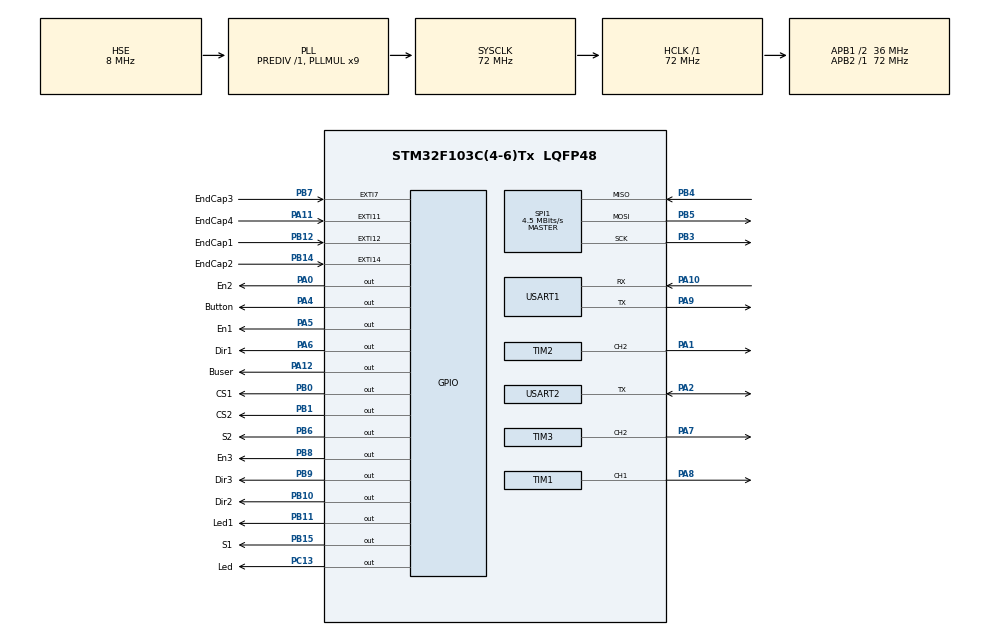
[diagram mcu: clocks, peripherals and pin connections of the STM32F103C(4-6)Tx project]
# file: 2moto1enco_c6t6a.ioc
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Mcu.Family=STM32F1
Mcu.Name=STM32F103C(4-6)Tx
Mcu.Package=LQFP48
NVIC.EXTI15_10_IRQn=true\:5\:0\:true\:false\:true\:true\:true\:true
NVIC.EXTI9_5_IRQn=true\:5\:0\:true\:false\:true\:true\:true\:true
NVIC.PriorityGroup=NVIC_PRIORITYGROUP_4
NVIC.RCC_IRQn=true\:5\:0\:true\:false\:true\:true\:false\:true
NVIC.SPI1_IRQn=true\:5\:0\:true\:false\:true\:true\:true\:true
NVIC.TIM1_UP_IRQn=true\:5\:0\:true\:false\:true\:true\:true\:true
NVIC.TIM2_IRQn=true\:5\:0\:true\:false\:true\:true\:true\:true
NVIC.TIM3_IRQn=true\:5\:0\:true\:false\:true\:true\:true\:true
NVIC.USART1_IRQn=true\:5\:0\:true\:false\:true\:true\:true\:true
NVIC.USART2_IRQn=true\:5\:0\:true\:false\:true\:true\:true\:true
PA0-WKUP.GPIO_Label=En2
PA0-WKUP.Signal=GPIO_Output
PA1.Signal=S_TIM2_CH2
PA10.GPIO_PuPd=GPIO_PULLUP
PA10.Mode=Asynchronous
PA10.Signal=USART1_RX
PA11.GPIO_Label=EndCap4
PA11.Signal=GPXTI11
PA12.GPIO_Label=Buser
PA12.Signal=GPIO_Output
PA13.Mode=Serial_Wire
PA13.Signal=SYS_JTMS-SWDIO
PA14.Mode=Serial_Wire
PA14.Signal=SYS_JTCK-SWCLK
PA2.Mode=Half_duplex(single_wire_mode)
PA2.Signal=USART2_TX
PA4.GPIO_Label=Button
PA4.Signal=GPIO_Output
PA5.GPIO_Label=En1
PA5.Signal=GPIO_Output
PA6.GPIO_Label=Dir1
PA6.Signal=GPIO_Output
PA7.Signal=S_TIM3_CH2
PA8.Signal=S_TIM1_CH1
PA9.Mode=Asynchronous
PA9.Signal=USART1_TX
PB0.GPIO_Label=CS1
PB0.Signal=GPIO_Output
PB1.GPIO_Label=CS2
PB1.Signal=GPIO_Output
PB10.GPIO_Label=Dir2
PB10.Signal=GPIO_Output
PB11.GPIO_Label=Led1
PB11.Signal=GPIO_Output
PB12.GPIO_Label=EndCap1
PB12.GPIO_ModeDefaultEXTI=GPIO_MODE_IT_RISING
PB12.Signal=GPXTI12
PB14.GPIO_Label=EndCap2
PB14.GPIO_ModeDefaultEXTI=GPIO_MODE_IT_RISING
PB14.Signal=GPXTI14
PB15.GPIO_Label=S1
PB15.Signal=GPIO_Output
PB3.Mode=Full_Duplex_Master
PB3.Signal=SPI1_SCK
PB4.Mode=Full_Duplex_Master
PB4.Signal=SPI1_MISO
PB5.Mode=Full_Duplex_Master
PB5.Signal=SPI1_MOSI
PB6.GPIO_Label=S2
PB6.Signal=GPIO_Output
PB7.GPIO_Label=EndCap3
PB7.Signal=GPXTI7
PB8.GPIO_Label=En3
PB8.Signal=GPIO_Output
PB9.GPIO_Label=Dir3
PB9.Signal=GPIO_Output
PC13-TAMPER-RTC.GPIO_Label=Led
PC13-TAMPER-RTC.Signal=GPIO_Output
PD0-OSC_IN.Mode=HSE-External-Oscillator
PD0-OSC_IN.Signal=RCC_OSC_IN
PD1-OSC_OUT.Mode=HSE-External-Oscillator
PD1-OSC_OUT.Signal=RCC_OSC_OUT
ProjectManager.HeapSize=0x200
ProjectManager.StackSize=0x400
ProjectManager.TargetToolchain=STM32CubeIDE
RCC.AHBFreq_Value=72000000
RCC.APB1CLKDivider=RCC_HCLK_DIV2
RCC.APB1Freq_Value=36000000
RCC.APB1TimFreq_Value=72000000
RCC.APB2Freq_Value=72000000
RCC.APB2TimFreq_Value=72000000
RCC.HCLKFreq_Value=72000000
RCC.PLLMUL=RCC_PLL_MUL9
RCC.PLLSourceVirtual=RCC_PLLSOURCE_HSE
RCC.SYSCLKFreq_VALUE=72000000
RCC.SYSCLKSource=RCC_SYSCLKSOURCE_PLLCLK
RCC.USBFreq_Value=72000000
SH.S_TIM1_CH1.0=TIM1_CH1,PWM Generation1 CH1
SH.S_TIM2_CH2.0=TIM2_CH2,PWM Generation2 CH2
SH.S_TIM3_CH2.0=TIM3_CH2,PWM Generation2 CH2
SPI1.BaudRatePrescaler=SPI_BAUDRATEPRESCALER_16
SPI1.CalculateBaudRate=4.5 MBits/s
SPI1.Direction=SPI_DIRECTION_2LINES
SPI1.Mode=SPI_MODE_MASTER
SPI1.VirtualType=VM_MASTER
TIM1.Channel-PWM\ Generation1\ CH1=TIM_CHANNEL_1
TIM2.Channel-PWM\ Generation2\ CH2=TIM_CHANNEL_2
TIM3.Channel-PWM\ Generation2\ CH2=TIM_CHANNEL_2
USART1.VirtualMode=VM_ASYNC
USART2.VirtualMode=VM_ASYNC
board=custom

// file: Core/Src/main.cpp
/* USER CODE BEGIN Header */
/**
 ******************************************************************************
 * @file           : main.c
 * @brief          : Main program body
 ******************************************************************************
 * @attention
 *
 * Copyright (c) 2023 STMicroelectronics.
 * All rights reserved.
 *
 * This software is licensed under terms that can be found in the LICENSE file
 * in the root directory of this software component.
 * If no LICENSE file comes with this software, it is provided AS-IS.
 *
 ******************************************************************************
 */
/* USER CODE END Header */
#include "main.h"
//#include "cmsis_os.h"

/* USER CODE BEGIN Includes */
#include "AMT22.h"
#include "RoboArm.h"
//#include "TMC2209.h"
/* USER CODE END Includes */

SPI_HandleTypeDef hspi1;

TIM_HandleTypeDef htim1;
TIM_HandleTypeDef htim2;
TIM_HandleTypeDef htim3;

UART_HandleTypeDef huart1;
UART_HandleTypeDef huart2;

//osThreadId defaultTaskHandle;
//osThreadId myAMT22TaskHandle;
//osThreadId myUARTTaskHandle;
/* USER CODE BEGIN PV */

uint8_t rx_index = 0;
uint8_t rx_data[28];
uint8_t rx_buffer[28];
uint8_t transfer_cplt = 0;
//TODO сокріш за все треба прибрати вже непотрібні флаги але такого інструменту тут немає))
//bool startFirstMove = false;
//bool sendDataFlag = false;
bool stopHand = false;
//bool setZeroFlag = false;

bool timerFT1 = false;
bool timerFT2 = false;
bool timerFT3 = false;

//bool startCorrectPos = false;
//bool posCorrected = false;

bool gripIntFlag = false;

//bool allowMove = true;
bool gripperMoveFinished = true;
//bool startMove = false;
bool moveFinished = false;

bool getVersion = false;

bool stepsSetFlagSent = false;

float accuracy = 0.005;
int max_correctAttempts = 10;
int current_correctAttempt = 0;

float recAngleF = 0.0;
uint16_t recDist = 0;
uint16_t recHold = 0;
bool flagReadEnc = 0;

int encMax = 16384;
int linMax = 210;

//десь внизу я видалив використання UN_NOW взагалі
union UN {
	struct {
		float lin;
		float ang;
		int PoT_lin;
		int PoT_ang;
		float lin_2;
		float ang_2;
		int hold;
	} params;
	uint8_t bytes[sizeof(params)];
} un_get, un_send, un_to, un_now;

float lin_beforeCorrect, ang_beforeCorrect;

void debounce_check_pins_and_set_flag();
/* USER CODE END PV */

void SystemClock_Config(void);
static void MX_GPIO_Init(void);
static void MX_SPI1_Init(void);
static void MX_TIM1_Init(void);
static void MX_TIM2_Init(void);
static void MX_TIM3_Init(void);
static void MX_USART1_UART_Init(void);
static void MX_USART2_UART_Init(void);
//void StartDefaultTask(void const * argument);
//void StartAMT22Data(void const * argument);
//void StartUARTData(void const * argument);
//void HAL_GPIO_EXTI_Callback(uint16_t GPIO_Pin);

/* USER CODE BEGIN 0 */

uint32_t cntImpulse1 = 0, cntImpulse2 = 0, cntImpulse3 = 0, step1 = 0,
		step2 = 0;

//TODO version naming

//17 - зміна напрямку зросту кута - ПРОТИ годинникової стрілки
//18 - new holders + small stuff

int version = 18;
RoboArm arm(240.0, 124.0);

//RoboArm arm(0, 124); - перша рука
//RoboArm arm(120, 124); - друга
//RoboArm arm(240, 124); - третя

//RoboArm arm(0, 124);
/* USER CODE END 0 */

int main(void) {

	/* MCU Configuration--------------------------------------------------------*/

	/* Reset of all peripherals, Initializes the Flash interface and the Systick. */
	HAL_Init();

	/* Configure the system clock */
	SystemClock_Config();

	/* Initialize all configured peripherals */
	MX_GPIO_Init();
	MX_USART1_UART_Init();
	MX_TIM1_Init();
	MX_TIM2_Init();
	MX_TIM3_Init();
	MX_USART2_UART_Init();
	MX_SPI1_Init();
	/* USER CODE BEGIN 2 */
	HAL_TIM_Base_Init(&htim1);
	HAL_TIM_Base_Init(&htim2);

	arm.SetSettMotors(huart2, htim1, htim2, htim3, Dir1_GPIO_Port, Dir1_Pin,
	Dir2_GPIO_Port, Dir2_Pin, Dir3_GPIO_Port, Dir3_Pin, En1_GPIO_Port,
	En1_Pin, En2_GPIO_Port, En2_Pin, En3_GPIO_Port, En3_Pin,
	Buser_GPIO_Port, Buser_Pin);
	arm.SetSettEncoders(hspi1, CS1_GPIO_Port, CS1_Pin, CS2_GPIO_Port, CS2_Pin,
			14);

	//Додано функція
	arm.SetSettGripper(EndCap1_GPIO_Port, EndCap1_Pin, EndCap2_GPIO_Port,
	EndCap2_Pin, EndCap3_GPIO_Port, EndCap3_Pin, EndCap4_GPIO_Port,
	EndCap4_Pin);

//	un_now.params.hold = arm.GetGripperState();
	/* USER CODE END 2 */

	/* Infinite loop */
	/* USER CODE BEGIN WHILE */
//  HAL_UART_Receive_IT (&huart1, str, 1);
	HAL_UART_Receive_IT(&huart1, rx_buffer, sizeof(rx_buffer));
	arm.setPrintState(true);

	arm.SetBuserState(8);
//	arm.SetBuserState(4);

//В останне запишемо поточне положення зачепа
	arm.lastGripState = arm.GetGripperState();

	arm.State = arm.ArmSTAND;

	for (int i=0; i<3; i++){
		arm.GetLin();
		HAL_Delay(10);
		arm.GetAng();
	}

	arm.SetLinAngMicrostepsAndParams(4);

//	debounce_check_pins_and_set_flag();

	while (1) {
		/* USER CODE END WHILE */

		/* USER CODE BEGIN 3 */
		// HAL_GPIO_TogglePin(Led1_GPIO_Port, Led1_Pin);
		if (error_flag) {
			for (int i = 0; i <= 200; i++) {
				HAL_GPIO_TogglePin(Buser_GPIO_Port, Buser_Pin);
				HAL_Delay(1);
			}
		}

		//!!!!!!!!!ЯКЩО зараз йде рух зацепа то ми постійно в цій умові перевіряємо стан зацепа і виставляємо флаг

		if (arm.State == arm.ArmGripPreMOVE || arm.State == arm.ArmGripMOVE || arm.State == arm.ArmGripMOVERetry) {

			debounce_check_pins_and_set_flag();

		}

		// +2 початок руху якщо прийшли нові дані
		if (arm.State == arm.ArmSTART) {
			arm.State = arm.ArmSTAND;
			//перевіряємо статус зацепа якщо він зачеплений то ОПУСКАЄМО (це не вірна логіка)
			//+1
			int tempGripState = arm.GetGripperState();
			//Зберігли попередній стан

			// TODO here is the problem with 2 -> 0!!!
			if ((tempGripState == 1 && un_to.params.hold == 0) || (tempGripState == 1 && un_to.params.hold == 2) || (tempGripState == 2 && un_to.params.hold == 0)) { //якщо піднятий +1.1 і треба опустити
//			if (un_to.params.hold == 0) { //якщо піднятий +1.1 і треба опустити
				arm.State = arm.ArmGripPreMOVE;
				arm.lastGripState = tempGripState; //записали поточне положеня
				arm.SetGripper(tempGripState, un_to.params.hold);
			} else { //if (tempGripState == 0) { //якщо опущенний то можна далі рухатись
				//+3
				arm.State = arm.ArmGripPreENDMOVE;
			}
		}

		//обробка кількість кроків та періоди.
		if (arm.State == arm.ArmStepSTART) {
			arm.State = arm.ArmSTAND;
			arm.Set2StepMotors(un_to.params.lin, un_to.params.PoT_lin,
					un_to.params.ang, un_to.params.PoT_ang);
			arm.State = arm.ArmStepWaitMOVE;
		}

		if (arm.State == arm.ArmStepWaitMOVE) {
			int tempGripState = arm.GetGripperState();
			//Зберігли попередній стан

			// TODO loose state
			if ((tempGripState == 1 && un_to.params.hold == 0) || (tempGripState == 1 && un_to.params.hold == 2) || (tempGripState == 2 && un_to.params.hold == 0)) { //якщо піднятий +1.1 і треба опустити
				arm.State = arm.ArmGripPreMOVEStep;
				arm.lastGripState = tempGripState; //записали поточне положеня
				arm.SetGripper(tempGripState, un_to.params.hold);
			} else { //if (tempGripState == 0) { //якщо опущенний то можна далі рухатись
				//+3
				arm.State = arm.ArmGripPreENDMOVEStep;
			}
		}

		if (arm.State == arm.ArmGripPreENDMOVEStep) {
//			stepsSetFlagSent = true;
			arm.State = arm.ArmSTAND;
			un_send.params.lin = 0.0;
			un_send.params.ang = 0.0;
			un_send.params.PoT_lin = 0;
			un_send.params.PoT_ang = 0;
			un_send.params.lin_2 = 0;
			un_send.params.ang_2 = 0;
			un_send.params.hold = 10;
			HAL_UART_Transmit(&huart1, un_send.bytes, sizeof(un_send.bytes),
					12);
		}

		if (arm.State == arm.ArmStepStartMOVE) {
			arm.State = arm.ArmStepMOVE;
			//В останне запишемо поточне положення зачепа
			arm.lastGripState = arm.GetGripperState();

//			int tempGripState = arm.GetGripperState();
//
//			if (tempGripState == 1 && un_to.params.hold == 0) { //якщо піднятий +1.1 і треба опустити
//				arm.State = arm.ArmGripPreMOVEStep;
//				arm.lastGripState = tempGripState; //записали поточне положеня
//				arm.SetGripper(0);
//			} else { //if (tempGripState == 0) { //якщо опущенний то можна далі рухатись
//				//+3
//				arm.State = arm.ArmGripPreENDMOVEStep;
//			}

			arm.Move2StepMotors();
//			stepsSetFlagSent = false;
		}

		//+4 опустили якщо треба було або починаємо одночасний рух моторів.
		if (arm.State == arm.ArmGripPreENDMOVE) {
			arm.State = arm.ArmMOVE;
			arm.Move2Motors(un_to.params.ang_2, un_to.params.lin_2);
		}

		if (arm.State == arm.ArmGripPreENDMOVEStep) {
			arm.State = arm.ArmMOVE;
			arm.Move2StepMotors();
		}

		if (arm.anglePsteps == 0 && (arm.State == arm.ArmMOVE || arm.State == arm.ArmStepMOVE || arm.State == arm.ArmCorrectPosition)){
			HAL_TIM_PWM_Stop(&htim1, TIM_CHANNEL_1);
			HAL_TIM_Base_Stop_IT(&htim1);
			cntImpulse1 = 0;
			timerFT1 = true;
		}

		if (arm.distPsteps == 0 && (arm.State == arm.ArmMOVE || arm.State == arm.ArmStepMOVE || arm.State == arm.ArmCorrectPosition)){
			HAL_TIM_PWM_Stop(&htim2, TIM_CHANNEL_2);
			HAL_TIM_Base_Stop_IT(&htim2);
			cntImpulse2 = 0;
			timerFT2 = true;
		}

		if (timerFT1 && timerFT2 && arm.State == arm.ArmMOVE) {
			timerFT1 = false;
			timerFT2 = false;
			arm.State = arm.ArmCorrectPosition;
			current_correctAttempt = 0;

			lin_beforeCorrect = arm.GetLin();
//			un_send.params.lin = 0;
//			un_send.params.lin_2 = lin;
			HAL_Delay(10);
			ang_beforeCorrect = arm.GetAng();
//			un_send.params.ang = 0;
//			un_send.params.ang_2 = ang;
//			un_send.params.hold = arm.GetGripperState()+10;
//			un_send.params.PoT_lin = 0;
//			un_send.params.PoT_ang = 0;
//			HAL_UART_Transmit(&huart1, un_send.bytes, sizeof(un_send.bytes),12);
//			HAL_Delay(1);

//			arm.drvMicroSteps = 128;
//			arm.gripperPsteps = 523*arm.drvMicroSteps;
//			arm.steps4OneMM = motorStep * arm.drvMicroSteps / (beltRatio * spoolStep);

			arm.SetLinAngMicrostepsAndParams(7);

			// TODO change microsteps to 128
			// UPDATE VALUES FOR ARM, LIKE STEPS FOR 1 MM
//			arm.SetBuserState(2);
			arm.Move2Motors(un_to.params.ang_2, un_to.params.lin_2);
		}

		//+5 обидва мотори доїхали по статусам в таймерах
		if (timerFT1 && timerFT2 && arm.State == arm.ArmStepMOVE) {
			timerFT1 = false;
			timerFT2 = false;
			arm.State = arm.ArmCorrectPosition;
			current_correctAttempt = 0;

			lin_beforeCorrect = arm.GetLin();
			HAL_Delay(10);
			ang_beforeCorrect = arm.GetAng();

			arm.SetLinAngMicrostepsAndParams(7);

			arm.Move2Motors(un_to.params.ang_2, un_to.params.lin_2);
		}
		if (timerFT1 && timerFT2	&& arm.State == arm.ArmCorrectPosition) {
//			arm.SetBuserState(3);
			timerFT1 = false;
			timerFT2 = false;

			float lin = arm.GetLin();
			float ang = arm.GetAng();
			float delta_lin = abs(lin - un_to.params.lin_2);
			float delta_ang = abs(ang - un_to.params.ang_2);
			if (360.0 - delta_ang < delta_ang){
				delta_ang = 360.0 - delta_ang;
			}

			if (((delta_lin <= accuracy) && (delta_ang <= accuracy)) || current_correctAttempt >= max_correctAttempts){
//				timerFT1 = false;
//				timerFT2 = false;
				arm.State = arm.ArmGripPermit;
				current_correctAttempt = 0;
				arm.SetLinAngMicrostepsAndParams(4);
			} else {
				current_correctAttempt += 1;
				arm.Move2Motors(un_to.params.ang_2, un_to.params.lin_2);
			}

//			timerFT1 = false;
//			timerFT2 = false;
////			arm.SetLinAngMicrostepsAndParams(4);
//			arm.State = arm.ArmGripPermit;
////			arm.drvMicroSteps = 16;
////			arm.gripperPsteps = 523*arm.drvMicroSteps;
////			arm.steps4OneMM = motorStep * arm.drvMicroSteps / (beltRatio * spoolStep);
//			arm.SetLinAngMicrostepsAndParams(4);
		}

		if (arm.State == arm.ArmGripPermit) {
			//+6 Перевірка статуса зацепа чи він не посередині і встановлюємо потрібний опускаємо
//			arm.SetBuserState(1);
			int tempGripState = arm.GetGripperState();
			//TODO add loose state
			if ((tempGripState == 1 || tempGripState == 0 || tempGripState == 2)
					&& (tempGripState != un_to.params.hold)) {

				arm.lastGripState = tempGripState; //записали поточне положеня

				arm.State = arm.ArmGripMOVE;
				arm.SetGripper(tempGripState, un_to.params.hold);
			} else if (tempGripState == un_to.params.hold) {
				arm.State = arm.ArmGripENDMOVE;
			} else if (tempGripState == 3) {
				arm.State = arm.ArmGripMOVEError;  //!!!!!!!!!!!!!!!! УВАГА ТУТ
			}
		}

		//якщо кроки закінчились а кінцевік не спрацював
		if (arm.State == arm.ArmGripMOVEError) {
			arm.State = arm.ArmGripMOVERetry;
			//їдемо в протилежну сторону
			arm.SetGripper(1, 0); // TODO to last stable position

//			if (arm.lastGripState == 1) {
//				arm.SetGripper(1);
//			} else {//if (arm.lastGripState == 0) {
//				arm.SetGripper(0);
//			}
		}

//		if (arm.GetGripperState()==un_to.params.hold && arm.State = arm.ArmGripENDMOVE){
//			arm.State = arm.ArmGripENDMOVE;
//		}

		// +7 закінчили рух зацепа
		if (arm.State == arm.ArmGripENDMOVE) {
			arm.State = arm.ArmSTAND;
			float lin = arm.GetLin();
//			un_send.params.lin = 0;
			un_send.params.lin = lin_beforeCorrect;
			un_send.params.lin_2 = lin;
			HAL_Delay(10);
			float ang = arm.GetAng();
//			un_send.params.ang = 0;
			un_send.params.ang = ang_beforeCorrect;
			un_send.params.ang_2 = ang;
			un_send.params.hold = arm.GetGripperState()+10;
			un_send.params.PoT_lin = 0;
			un_send.params.PoT_ang = 0;

			gripperMoveFinished = false;
			moveFinished = false;
			HAL_UART_Transmit(&huart1, un_send.bytes, sizeof(un_send.bytes),12);

		}

		//запит на читання координат
		if (arm.getPrintState() && arm.State == arm.ArmGetData) {
			arm.State = arm.ArmSTAND;
			float lin = arm.GetLin();
			un_send.params.lin = 0;
			un_send.params.lin_2 = lin;
//		  un_send.params.lin = arm.ShiftZeroLin(lin); //це для АМТ223С-V
			HAL_Delay(10);
			float ang = arm.GetAng();
			un_send.params.ang = 0;
			un_send.params.ang_2 = ang;
//		  un_send.params.ang = arm.ShiftZeroAng(ang); //це для АМТ223С-V
			un_send.params.hold = arm.GetGripperState();
			un_send.params.PoT_lin = 0;
			un_send.params.PoT_ang = 0;
			HAL_UART_Transmit(&huart1, un_send.bytes, sizeof(un_send.bytes),
					12);
		}

		//екстренна зупинка
		if (arm.State == arm.ArmSTOP) {
			stopHand = false;
			arm.EmergencyStop();

			//відправляємо "все ок" до малини
			un_send.params.lin = 0;
			un_send.params.ang = 0;
			un_send.params.lin_2 = 0;
			un_send.params.ang_2 = 0;
			un_send.params.PoT_lin = 0;
			un_send.params.PoT_ang = 0;
			un_send.params.hold = 10;
			HAL_UART_Transmit(&huart1, un_send.bytes, sizeof(un_send.bytes),
					12);
			arm.State = arm.ArmSTAND;
		}

		//встановлення нуля
		if (arm.State == arm.ArmSetZero) {
			arm.State = arm.ArmSTAND;
			arm.SetZeroEncoders();
//		  arm.SetSoftwareZero();
			//відправляємо "все ок" до малини
			un_send.params.lin = 0;
			un_send.params.ang = 0;
			un_send.params.lin_2 = 0;
			un_send.params.ang_2 = 0;
			un_send.params.PoT_lin = 0;
			un_send.params.PoT_ang = 0;
			un_send.params.lin_2 = 0;
			un_send.params.ang_2 = 0;
			un_send.params.hold = 10;
			HAL_UART_Transmit(&huart1, un_send.bytes, sizeof(un_send.bytes),
					12);

//			arm.State = arm.ArmSTAND;
		}

		if (arm.State == arm.ArmGetVers) {
			arm.State = arm.ArmSTAND;
			un_send.params.lin = 0;
			un_send.params.ang = 0;
			un_send.params.lin_2 = 0;
			un_send.params.ang_2 = 0;
			un_send.params.PoT_lin = 0;
			un_send.params.PoT_ang = 0;
			un_send.params.hold = version;
			HAL_UART_Transmit(&huart1, un_send.bytes, sizeof(un_send.bytes),
					12);
		}
	}
	/* USER CODE END 3 */
}

void SystemClock_Config(void) {
	RCC_OscInitTypeDef RCC_OscInitStruct = { 0 };
	RCC_ClkInitTypeDef RCC_ClkInitStruct = { 0 };

	/** Initializes the RCC Oscillators according to the specified parameters
	 * in the RCC_OscInitTypeDef structure.
	 */
	RCC_OscInitStruct.OscillatorType = RCC_OSCILLATORTYPE_HSE;
	RCC_OscInitStruct.HSEState = RCC_HSE_ON;
	RCC_OscInitStruct.HSEPredivValue = RCC_HSE_PREDIV_DIV1;
	RCC_OscInitStruct.HSIState = RCC_HSI_ON;
	RCC_OscInitStruct.PLL.PLLState = RCC_PLL_ON;
	RCC_OscInitStruct.PLL.PLLSource = RCC_PLLSOURCE_HSE;
	RCC_OscInitStruct.PLL.PLLMUL = RCC_PLL_MUL9;
	if (HAL_RCC_OscConfig(&RCC_OscInitStruct) != HAL_OK) {
		Error_Handler();
	}

	/** Initializes the CPU, AHB and APB buses clocks
	 */
	RCC_ClkInitStruct.ClockType = RCC_CLOCKTYPE_HCLK | RCC_CLOCKTYPE_SYSCLK
			| RCC_CLOCKTYPE_PCLK1 | RCC_CLOCKTYPE_PCLK2;
	RCC_ClkInitStruct.SYSCLKSource = RCC_SYSCLKSOURCE_PLLCLK;
	RCC_ClkInitStruct.AHBCLKDivider = RCC_SYSCLK_DIV1;
	RCC_ClkInitStruct.APB1CLKDivider = RCC_HCLK_DIV2;
	RCC_ClkInitStruct.APB2CLKDivider = RCC_HCLK_DIV1;

	if (HAL_RCC_ClockConfig(&RCC_ClkInitStruct, FLASH_LATENCY_2) != HAL_OK) {
		Error_Handler();
	}

	/** Enables the Clock Security System
	 */
	HAL_RCC_EnableCSS();
}

static void MX_SPI1_Init(void) {

	/* SPI1 parameter configuration*/
	hspi1.Instance = SPI1;
	hspi1.Init.Mode = SPI_MODE_MASTER;
	hspi1.Init.Direction = SPI_DIRECTION_2LINES;
	hspi1.Init.DataSize = SPI_DATASIZE_8BIT;
	hspi1.Init.CLKPolarity = SPI_POLARITY_LOW;
	hspi1.Init.CLKPhase = SPI_PHASE_1EDGE;
	hspi1.Init.NSS = SPI_NSS_SOFT;
	hspi1.Init.BaudRatePrescaler = SPI_BAUDRATEPRESCALER_16;
	hspi1.Init.FirstBit = SPI_FIRSTBIT_MSB;
	hspi1.Init.TIMode = SPI_TIMODE_DISABLE;
	hspi1.Init.CRCCalculation = SPI_CRCCALCULATION_DISABLE;
	hspi1.Init.CRCPolynomial = 10;
	if (HAL_SPI_Init(&hspi1) != HAL_OK) {
		Error_Handler();
	}

}

static void MX_TIM1_Init(void) {

	TIM_MasterConfigTypeDef sMasterConfig = { 0 };
	TIM_OC_InitTypeDef sConfigOC = { 0 };
	TIM_BreakDeadTimeConfigTypeDef sBreakDeadTimeConfig = { 0 };

	htim1.Instance = TIM1;
	htim1.Init.Prescaler = 72;
	htim1.Init.CounterMode = TIM_COUNTERMODE_UP;
	htim1.Init.Period = 1000 - 1;
	htim1.Init.ClockDivision = TIM_CLOCKDIVISION_DIV1;
	htim1.Init.RepetitionCounter = 0;
	htim1.Init.AutoReloadPreload = TIM_AUTORELOAD_PRELOAD_DISABLE;
	if (HAL_TIM_PWM_Init(&htim1) != HAL_OK) {
		Error_Handler();
	}
	sMasterConfig.MasterOutputTrigger = TIM_TRGO_RESET;
	sMasterConfig.MasterSlaveMode = TIM_MASTERSLAVEMODE_DISABLE;
	if (HAL_TIMEx_MasterConfigSynchronization(&htim1, &sMasterConfig)
			!= HAL_OK) {
		Error_Handler();
	}
	sConfigOC.OCMode = TIM_OCMODE_PWM1;
	sConfigOC.Pulse = 0;
	sConfigOC.OCPolarity = TIM_OCPOLARITY_HIGH;
	sConfigOC.OCNPolarity = TIM_OCNPOLARITY_HIGH;
	sConfigOC.OCFastMode = TIM_OCFAST_DISABLE;
	sConfigOC.OCIdleState = TIM_OCIDLESTATE_RESET;
	sConfigOC.OCNIdleState = TIM_OCNIDLESTATE_RESET;
	if (HAL_TIM_PWM_ConfigChannel(&htim1, &sConfigOC, TIM_CHANNEL_1)
			!= HAL_OK) {
		Error_Handler();
	}
	sBreakDeadTimeConfig.OffStateRunMode = TIM_OSSR_DISABLE;
	sBreakDeadTimeConfig.OffStateIDLEMode = TIM_OSSI_DISABLE;
	sBreakDeadTimeConfig.LockLevel = TIM_LOCKLEVEL_OFF;
	sBreakDeadTimeConfig.DeadTime = 0;
	sBreakDeadTimeConfig.BreakState = TIM_BREAK_DISABLE;
	sBreakDeadTimeConfig.BreakPolarity = TIM_BREAKPOLARITY_HIGH;
	sBreakDeadTimeConfig.AutomaticOutput = TIM_AUTOMATICOUTPUT_DISABLE;
	if (HAL_TIMEx_ConfigBreakDeadTime(&htim1, &sBreakDeadTimeConfig)
			!= HAL_OK) {
		Error_Handler();
	}
	HAL_TIM_MspPostInit(&htim1);

}

static void MX_TIM2_Init(void) {

	TIM_MasterConfigTypeDef sMasterConfig = { 0 };
	TIM_OC_InitTypeDef sConfigOC = { 0 };

	htim2.Instance = TIM2;
	htim2.Init.Prescaler = 72;
	htim2.Init.CounterMode = TIM_COUNTERMODE_UP;
	htim2.Init.Period = 1000 - 1;
	htim2.Init.ClockDivision = TIM_CLOCKDIVISION_DIV1;
	htim2.Init.AutoReloadPreload = TIM_AUTORELOAD_PRELOAD_DISABLE;
	if (HAL_TIM_PWM_Init(&htim2) != HAL_OK) {
		Error_Handler();
	}
	sMasterConfig.MasterOutputTrigger = TIM_TRGO_RESET;
	sMasterConfig.MasterSlaveMode = TIM_MASTERSLAVEMODE_DISABLE;
	if (HAL_TIMEx_MasterConfigSynchronization(&htim2, &sMasterConfig)
			!= HAL_OK) {
		Error_Handler();
	}
	sConfigOC.OCMode = TIM_OCMODE_PWM1;
	sConfigOC.Pulse = 0;
	sConfigOC.OCPolarity = TIM_OCPOLARITY_HIGH;
	sConfigOC.OCFastMode = TIM_OCFAST_DISABLE;
	if (HAL_TIM_PWM_ConfigChannel(&htim2, &sConfigOC, TIM_CHANNEL_2)
			!= HAL_OK) {
		Error_Handler();
	}
	HAL_TIM_MspPostInit(&htim2);

}

static void MX_TIM3_Init(void) {

	TIM_MasterConfigTypeDef sMasterConfig = { 0 };
	TIM_OC_InitTypeDef sConfigOC = { 0 };

	htim3.Instance = TIM3;
	htim3.Init.Prescaler = 72;
	htim3.Init.CounterMode = TIM_COUNTERMODE_UP;
	htim3.Init.Period = 1000 - 1;
	htim3.Init.ClockDivision = TIM_CLOCKDIVISION_DIV1;
	htim3.Init.AutoReloadPreload = TIM_AUTORELOAD_PRELOAD_DISABLE;
	if (HAL_TIM_PWM_Init(&htim3) != HAL_OK) {
		Error_Handler();
	}
	sMasterConfig.MasterOutputTrigger = TIM_TRGO_RESET;
	sMasterConfig.MasterSlaveMode = TIM_MASTERSLAVEMODE_DISABLE;
	if (HAL_TIMEx_MasterConfigSynchronization(&htim3, &sMasterConfig)
			!= HAL_OK) {
		Error_Handler();
	}
	sConfigOC.OCMode = TIM_OCMODE_PWM1;
	sConfigOC.Pulse = 0;
	sConfigOC.OCPolarity = TIM_OCPOLARITY_HIGH;
	sConfigOC.OCFastMode = TIM_OCFAST_DISABLE;
	if (HAL_TIM_PWM_ConfigChannel(&htim3, &sConfigOC, TIM_CHANNEL_2)
			!= HAL_OK) {
		Error_Handler();
	}
	HAL_TIM_MspPostInit(&htim3);

}

static void MX_USART1_UART_Init(void) {

	huart1.Instance = USART1;
	huart1.Init.BaudRate = 115200;
	huart1.Init.WordLength = UART_WORDLENGTH_8B;
	huart1.Init.StopBits = UART_STOPBITS_1;
	huart1.Init.Parity = UART_PARITY_NONE;
	huart1.Init.Mode = UART_MODE_TX_RX;
	huart1.Init.HwFlowCtl = UART_HWCONTROL_NONE;
	huart1.Init.OverSampling = UART_OVERSAMPLING_16;
	if (HAL_UART_Init(&huart1) != HAL_OK) {
		Error_Handler();
	}

}

static void MX_USART2_UART_Init(void) {

	/* USER CODE BEGIN USART2_Init 0 */
//
	/* USER CODE END USART2_Init 0 */

	/* USER CODE BEGIN USART2_Init 1 */
//
	/* USER CODE END USART2_Init 1 */
	huart2.Instance = USART2;
	huart2.Init.BaudRate = 115200;
	huart2.Init.WordLength = UART_WORDLENGTH_8B;
	huart2.Init.StopBits = UART_STOPBITS_1;
	huart2.Init.Parity = UART_PARITY_NONE;
	huart2.Init.Mode = UART_MODE_TX_RX;
	huart2.Init.HwFlowCtl = UART_HWCONTROL_NONE;
	huart2.Init.OverSampling = UART_OVERSAMPLING_16;
	if (HAL_HalfDuplex_Init(&huart2) != HAL_OK) {
		Error_Handler();
	}
	/* USER CODE BEGIN USART2_Init 2 */
//
	/* USER CODE END USART2_Init 2 */

}

static void MX_GPIO_Init(void) {
	GPIO_InitTypeDef GPIO_InitStruct = { 0 };

	/* GPIO Ports Clock Enable */
	__HAL_RCC_GPIOC_CLK_ENABLE();
	__HAL_RCC_GPIOD_CLK_ENABLE();
	__HAL_RCC_GPIOA_CLK_ENABLE();
	__HAL_RCC_GPIOB_CLK_ENABLE();

	/*Configure GPIO pin Output Level */
	HAL_GPIO_WritePin(Led_GPIO_Port, Led_Pin, GPIO_PIN_RESET);

	/*Configure GPIO pin Output Level */
	HAL_GPIO_WritePin(GPIOA,
	En2_Pin | Button_Pin | En1_Pin | Dir1_Pin | Buser_Pin, GPIO_PIN_RESET);

	/*Configure GPIO pin Output Level */
	HAL_GPIO_WritePin(GPIOB,
			CS1_Pin | CS2_Pin | Dir2_Pin | Led1_Pin | S1_Pin | S2_Pin | En3_Pin
					| Dir3_Pin, GPIO_PIN_RESET);

	/*Configure GPIO pin : Led_Pin */
	GPIO_InitStruct.Pin = Led_Pin;
	GPIO_InitStruct.Mode = GPIO_MODE_OUTPUT_PP;
	GPIO_InitStruct.Pull = GPIO_NOPULL;
	GPIO_InitStruct.Speed = GPIO_SPEED_FREQ_LOW;
	HAL_GPIO_Init(Led_GPIO_Port, &GPIO_InitStruct);

	/*Configure GPIO pins : En2_Pin Button_Pin En1_Pin Dir1_Pin
	 Buser_Pin */
	GPIO_InitStruct.Pin = En2_Pin | Button_Pin | En1_Pin | Dir1_Pin | Buser_Pin;
	GPIO_InitStruct.Mode = GPIO_MODE_OUTPUT_PP;
	GPIO_InitStruct.Pull = GPIO_NOPULL;
	GPIO_InitStruct.Speed = GPIO_SPEED_FREQ_LOW;
	HAL_GPIO_Init(GPIOA, &GPIO_InitStruct);

	/*Configure GPIO pins : CS1_Pin CS2_Pin Dir2_Pin Led1_Pin
	 S1_Pin S2_Pin En3_Pin Dir3_Pin */
	GPIO_InitStruct.Pin = CS1_Pin | CS2_Pin | Dir2_Pin | Led1_Pin | S1_Pin
			| S2_Pin | En3_Pin | Dir3_Pin;
	GPIO_InitStruct.Mode = GPIO_MODE_OUTPUT_PP;
	GPIO_InitStruct.Pull = GPIO_NOPULL;
	GPIO_InitStruct.Speed = GPIO_SPEED_FREQ_LOW;
	HAL_GPIO_Init(GPIOB, &GPIO_InitStruct);

	/*Configure GPIO pins : EndCap1_Pin EndCap2_Pin EndCap3_Pin */
	GPIO_InitStruct.Pin = EndCap1_Pin | EndCap2_Pin | EndCap3_Pin;
	GPIO_InitStruct.Mode = GPIO_MODE_IT_RISING;
	GPIO_InitStruct.Pull = GPIO_NOPULL;
	HAL_GPIO_Init(GPIOB, &GPIO_InitStruct);

	/*Configure GPIO pin : EndCap4_Pin */
	GPIO_InitStruct.Pin = EndCap4_Pin;
	GPIO_InitStruct.Mode = GPIO_MODE_IT_RISING;
	GPIO_InitStruct.Pull = GPIO_NOPULL;
	HAL_GPIO_Init(EndCap4_GPIO_Port, &GPIO_InitStruct);

	/* EXTI interrupt init*/
	HAL_NVIC_SetPriority(EXTI9_5_IRQn, 5, 0);
	HAL_NVIC_EnableIRQ(EXTI9_5_IRQn);

	HAL_NVIC_SetPriority(EXTI15_10_IRQn, 5, 0);
	HAL_NVIC_EnableIRQ(EXTI15_10_IRQn);

}

/* USER CODE BEGIN 4 */

void HAL_UART_RxCpltCallback(UART_HandleTypeDef *huart) {
	//UNUSED(huart);
	if (huart == &huart1) {
		// копіюємо отримані дані у rx_buffer
		HAL_GPIO_TogglePin(Led_GPIO_Port, Led_Pin);
		memcpy(un_get.bytes, rx_buffer, sizeof(rx_buffer));

		switch (un_get.params.hold) {
		case 0:
		case 1:
		case 2:
			// 0 або 1 у un_get.params.hold = прийшли нові координати
			//startFirstMove = true;

			//статус початку руху  +1
//			arm.SetBuserState(1);
//			HAL_GPIO_TogglePin(Led1_GPIO_Port, Led1_Pin);
			arm.State = arm.ArmSTART;

			un_to.params.lin = un_get.params.lin;
			un_to.params.ang = un_get.params.ang;
			un_to.params.PoT_ang = 0;
			un_to.params.PoT_lin = 0;
			un_to.params.lin_2 = un_get.params.lin_2;
			un_to.params.ang_2 = un_get.params.ang_2;
			un_to.params.hold = un_get.params.hold;
//			arm.moveGripper = un_get.params.hold;
			break;

		case 25:
			//25 = екстренна зупинка

			arm.State = arm.ArmSTOP;
			//оце би на переривання якесь повісити, щоб якщо натиснули в дашборді - то остаточно вирубати.
			break;
		case 50:
			//50 = get-запит
			//sendDataFlag = true;
			arm.State = arm.ArmGetData;
			break;
		case 75:
			//75 = встановлення нуля
			//	setZeroFlag = true;
			arm.State = arm.ArmSetZero;
			break;
		case 80:
			arm.State = arm.ArmGetVers;
			break;

		case 31: //так робити погано але ладна)
		case 30:
		case 32:
//			arm.SetBuserState(1);
//			HAL_GPIO_TogglePin(Led1_GPIO_Port, Led1_Pin);
			arm.State = arm.ArmStepSTART;
			un_to.params.lin = un_get.params.lin; //це кроки 1
			un_to.params.ang = un_get.params.ang; //це кроки 2
			un_to.params.PoT_ang = un_get.params.PoT_ang; //це період 2
			un_to.params.PoT_lin = un_get.params.PoT_lin; //це період 1
			un_to.params.lin_2 = un_get.params.lin_2;
			un_to.params.ang_2 = un_get.params.ang_2;
			un_to.params.hold = un_get.params.hold % 10; //парсимо hold 0 або 1

			break;

		case 40:
			//перевірка чи були налаштовані таймери до цього для руху по крокам
			arm.State = arm.ArmStepStartMOVE;

			break;

		}
		memset(rx_buffer, 0, sizeof(rx_buffer));
//		HAL_GPIO_TogglePin(Led_GPIO_Port, Led_Pin);
	}
	HAL_UART_Receive_IT(&huart1, rx_buffer, sizeof(rx_buffer));
}

void HAL_GPIO_EXTI_Callback(uint16_t GPIO_Pin) {

	//Тут не використовується, треба почитати як без таймера не затримуючі переривання чимось зупинятись
	//можливо встановлювати флаг на перевірку статусу функцією debounce_check_pins_and_set_flag();
	if (GPIO_Pin == EndCap1_Pin) { //натиснутий нижній
//
//		HAL_Delay(1);
//
//		if (HAL_GPIO_ReadPin(arm.EndCap1_GPIO_PortG, arm.EndCap1_PinG) == GPIO_PIN_SET) {
//		            gripIntFlag = true;
//		}

	} else if (GPIO_Pin == EndCap2_Pin) {
//
//		HAL_Delay(1);
//
//		if(HAL_GPIO_ReadPin(arm.EndCap2_GPIO_PortG, arm.EndCap2_PinG) == GPIO_PIN_SET) {
//			gripIntFlag = true;
//		}

//		cntImpulse3= 0;
	} else if (GPIO_Pin == EndCap3_Pin || GPIO_Pin == EndCap4_Pin) {
		//лінійний мотор утикнувся в край руки, зупиняємо його рух
		//зупиняємо ШІМ на другому таймері
//		HAL_TIM_PWM_Stop(&htim2, TIM_CHANNEL_2);
//		HAL_TIM_Base_Stop_IT(&htim2);
		//зануляємо лічильник імпульсів
		//	cntImpulse2 = 0;
		//вважаємо, що мотор доїхав до необхідної позиції
		//	arm.stateMoveM2 = false;
		//	timerFT2 = true;
	}
//	else {
//		__NOP();
//	}
}

void HAL_UART_ErrorCallback(UART_HandleTypeDef *huart) {
	if (huart->Instance == USART1) {
		if (huart->ErrorCode == HAL_UART_ERROR_ORE) {
			// переполнение
			arm.SetBuserState(2);
		}
		if (huart->ErrorCode == HAL_UART_ERROR_PE) {
			// Ошибка четности
			arm.SetBuserState(3);
		}
		if (huart->ErrorCode == HAL_UART_ERROR_NE) {
			// Ошибка зашумление
			arm.SetBuserState(4);
		}
		if (huart->ErrorCode == HAL_UART_ERROR_FE) {
			// Ошибка кадрирования
			arm.SetBuserState(5);
		}
	}
}

void debounce_check_pins_and_set_flag() {
	static uint32_t last_check_time = 0;
	static uint32_t debounce_delay = 15; // Затримка для віднімання дребезгу, в мілісекундах, насправді дребезг всього 120 мікросекунд!!!!
	static bool checkFlag1 = false;
	static bool checkFlag2 = false;
//	static uint8_t last_EndCap1_state = GPIO_PIN_RESET;
//	static uint8_t last_EndCap2_state = GPIO_PIN_RESET;
	static uint8_t last_EndCap1_state = HAL_GPIO_ReadPin(arm.EndCap1_GPIO_PortG,
			arm.EndCap1_PinG);
	static uint8_t last_EndCap2_state = HAL_GPIO_ReadPin(arm.EndCap2_GPIO_PortG,
			arm.EndCap2_PinG);
	uint32_t current_time = HAL_GetTick();

	// Перевірка чи пройшла достатня затримка для уникнення дребезгу
	if (current_time - last_check_time >= debounce_delay) {
		// Оновлення часу останньої перевірки
		last_check_time = current_time;

		// Перевірка стану піну EndCap1
		uint8_t current_EndCap1_state = HAL_GPIO_ReadPin(arm.EndCap1_GPIO_PortG,
				arm.EndCap1_PinG);

		if (current_EndCap1_state == GPIO_PIN_SET
				&& last_EndCap1_state == GPIO_PIN_RESET) {
			if (checkFlag1) {
				checkFlag1 = false;
				gripIntFlag = true;
//				HAL_GPIO_TogglePin(Led_GPIO_Port, Led_Pin);
				HAL_GPIO_TogglePin(arm.Buser_GPIO_Port_Ind, arm.Buser_Pin_Ind);
			} else {
				HAL_GPIO_TogglePin(Led_GPIO_Port, Led_Pin);
				checkFlag1 = true;
			}
		} else {
			if (checkFlag1) {
				checkFlag1 = false;
			}
		}
		if (!checkFlag1) {
			last_EndCap1_state = current_EndCap1_state;
		}

		// Перевірка стану піну EndCap2
		uint8_t current_EndCap2_state = HAL_GPIO_ReadPin(arm.EndCap2_GPIO_PortG,
				arm.EndCap2_PinG);
//		if (current_EndCap2_state == GPIO_PIN_SET
//				&& last_EndCap2_state == GPIO_PIN_RESET) {
//			gripIntFlag = true;
//		}
//		last_EndCap2_state = current_EndCap2_state;
		if (current_EndCap2_state == GPIO_PIN_SET
				&& last_EndCap2_state == GPIO_PIN_RESET) {
			if (checkFlag2) {
				checkFlag2 = false;
				gripIntFlag = true;
//				HAL_GPIO_TogglePin(Led_GPIO_Port, Led_Pin);
				HAL_GPIO_TogglePin(arm.Buser_GPIO_Port_Ind, arm.Buser_Pin_Ind);
			} else {
				HAL_GPIO_TogglePin(Led_GPIO_Port, Led_Pin);
				checkFlag2 = true;
			}
		} else {
			if (checkFlag2) {
				checkFlag2 = false;
			}
		}
		if (!checkFlag2) {
			last_EndCap2_state = current_EndCap2_state;
		}
	}
}

/* USER CODE END 4 */

void HAL_TIM_PeriodElapsedCallback(TIM_HandleTypeDef *htim) {
	/* USER CODE BEGIN Callback 0 */

	if (htim->Instance == TIM1)/*Проверяем от какого таймера пришёл CallBack тут надо проверить точность*/
	{
		cntImpulse1++;
		if (cntImpulse1 >= arm.anglePsteps) {

			HAL_TIM_PWM_Stop(&htim1, TIM_CHANNEL_1);
			HAL_TIM_Base_Stop_IT(&htim1);
//			arm.SetEnable(1, false);
			// COMMENT 10
//			arm.SetEnable(1, true);
			cntImpulse1 = 0;
			timerFT1 = true;

			//перевірка: якщо була докатка, виставляємо, що ми її відпрацювали
			//if (startCorrectPos) {posCorrected = true;}
		}

	} else if (htim->Instance == TIM2) {

		cntImpulse2++;
		if (cntImpulse2 >= arm.distPsteps) {
			HAL_TIM_PWM_Stop(&htim2, TIM_CHANNEL_2);
			HAL_TIM_Base_Stop_IT(&htim2);
//			arm.SetEnable(2, false);
			// COMMENT 11
//			arm.SetEnable(2, true);
			cntImpulse2 = 0;
			timerFT2 = true;

			//перевірка: якщо була докатка, виставляємо, що ми її відпрацювали
			//if (startCorrectPos) {posCorrected = true;}
		}
	} else if (htim->Instance == TIM3) {

		cntImpulse3++;

		// якщо кроки закінчилися але кінцевік не спрацював, то зупиняємось.
		// TODO if we are going for a loose state, it's probably what we need
		if ((arm.toLoose == true) && ((arm.lastGripState == 0 && cntImpulse3 >= arm.gripperPstepsLoose_fromUnhold) || (
				arm.lastGripState == 1 && cntImpulse3 >= arm.gripperPstepsLoose_fromHold))) {
			//TODO add check for additional counter

			gripIntFlag = false;
			HAL_TIM_PWM_Stop(&htim3, TIM_CHANNEL_2);
			HAL_TIM_Base_Stop_IT(&htim3);

			if (arm.State == arm.ArmGripPreMOVE) {
				arm.State = arm.ArmGripPreENDMOVE;
			} else if (arm.State == arm.ArmGripPreMOVEStep) {
				arm.State = arm.ArmGripPreENDMOVEStep;
			} else if (arm.State == arm.ArmGripMOVE) {
				arm.State = arm.ArmGripENDMOVE;
			} else if (arm.State == arm.ArmGripMOVERetry) {
				arm.State = arm.ArmGripPermit;
			}

			cntImpulse3 = 0;
			timerFT3 = true;
			arm.isLoose = true;
		}
		else if (cntImpulse3 >= arm.gripperPsteps && gripIntFlag == false) {
			HAL_TIM_PWM_Stop(&htim3, TIM_CHANNEL_2);
			HAL_TIM_Base_Stop_IT(&htim3);
			arm.State = arm.ArmGripMOVEError;
		} else if (cntImpulse3 >= arm.gripperPsteps || gripIntFlag == true) {
			gripIntFlag = false;
			HAL_TIM_PWM_Stop(&htim3, TIM_CHANNEL_2);
			HAL_TIM_Base_Stop_IT(&htim3);

			if (arm.State == arm.ArmGripPreMOVE) {
				arm.State = arm.ArmGripPreENDMOVE;
			} else if (arm.State == arm.ArmGripPreMOVEStep) {
				arm.State = arm.ArmGripPreENDMOVEStep;
			} else if (arm.State == arm.ArmGripMOVE) {
				arm.State = arm.ArmGripENDMOVE;
			} else if (arm.State == arm.ArmGripMOVERetry) {
				arm.State = arm.ArmGripPermit;
			}

			cntImpulse3 = 0;
			timerFT3 = true;
		}
//		if (cntImpulse3 > arm.gripperPsteps) {
//			arm.SetBuserState(1);
//			HAL_TIM_PWM_Stop(&htim3, TIM_CHANNEL_2);
//			HAL_TIM_Base_Stop_IT(&htim3);
//			arm.State = arm.ArmGripMOVEError;
//		}
	}
	/* USER CODE END Callback 0 */
//  if (htim->Instance == TIM4) {
//    HAL_IncTick();
//  }
}

//void HAL_GPIO_EXTI_Callback(uint16_t GPIO_Pin){
//	if(GPIO_Pin == EndCap1_Pin) {
//	    //gripper is fully opened, no move allowed
//		allowMove = false;
//		gripperMoveFinished = true;
//	  } else if (GPIO_Pin == EndCap2_Pin) {
//		//gripper is fully closed, move allowed
//		allowMove = true;
//		gripperMoveFinished = true;
//	  } else if (GPIO_Pin == EndCap3_Pin || GPIO_Pin == EndCap4_Pin) {
//		  //linear motor is on the end of the hand, stop move
//		  HAL_TIM_PWM_Stop(&htim2, TIM_CHANNEL_2);
//		  HAL_TIM_Base_Stop_IT(&htim2);
//		  cntImpulse2 = 0;
//		  arm.stateMoveM2 = false;
//		  timerFT2 = true;
//	  } else {
//	      __NOP();
//	  }
//}

void Error_Handler(void) {
	/* USER CODE BEGIN Error_Handler_Debug */
	/* User can add his own implementation to report the HAL error return state */
	//повинен пропищати при помилці; треба перевірити
	for (int t = 0; t <= 4; t++) {
		for (int i = 0; i <= 200; i++) {
			HAL_GPIO_TogglePin(Buser_GPIO_Port, Buser_Pin);
			HAL_Delay(1);
		}
		HAL_Delay(100);
	}
	__disable_irq();
	while (1) {
	}
	/* USER CODE END Error_Handler_Debug */
}
